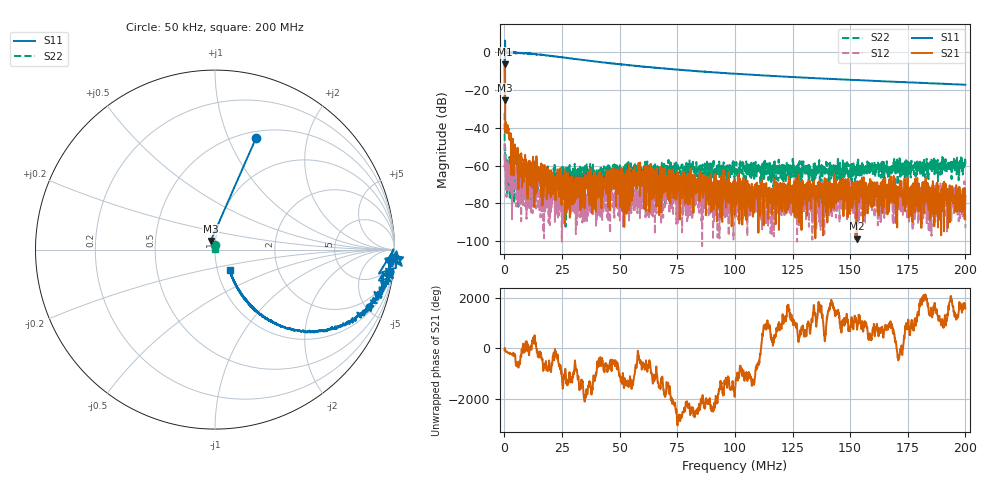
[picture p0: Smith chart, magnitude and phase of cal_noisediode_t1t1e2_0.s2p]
! 26-Feb-26 1:32:48 PM
! E:\VNA_MEASUREMENTS\CAL_S11\CAL_NOISEDIODE_T1T1E2_0.S2P
! CHANNEL.1
! TR.MEASUREMENT
! CORRECTED.DATA
# GHZ S RI R 50.0
! FREQ.GHZ  S11RE  S11IM  S21RE  S21IM  S12RE  S12IM  S22RE  S22IM
!; PortSelection: Port_12
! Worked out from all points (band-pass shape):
!   2000 points, 50 kHz to 200 MHz, reference 50 ohm
!   highest |S21| = -6.37 dB at 50 kHz (marker M1); lowest = -98.7 dB at 152.8 MHz (marker M2)
!   |S21| within 3 dB of the highest: start of sweep to 251.8 kHz
!   lowest |S11| = -25.5 dB at 150 kHz (marker M3), VSWR 1.11, Z = 47.4 + j4.51 ohm
!   |S11| at or under -10 dB: 79.22 kHz to 198.8 kHz (119.6 kHz wide, 86 % of centre); 83.36558 MHz to 83.61863 MHz (253.1 kHz wide, 0.303 % of centre); 83.72 MHz to end of sweep
!   |S22| runs from -92.3 to -32.1 dB; largest |S21 - S12| = 0.48
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5e-05  0.2278 0.6198  0.1653 -0.4512  -0.00346 -0.00189  0.00154 0.0247
0.000150025  -0.024 0.0474  0.4295 0.1532  0.000743 0.000428  -0.00085 -0.000348
0.001350325  0.9724 -0.0858  -0.0112 -0.00402  -0.000538 -0.00102  -0.000466 -0.000645
0.00385095  0.9964 -0.125  -0.00119 -0.000195  -0.00111 -0.000349  -0.000101 0.000423
0.006951726  0.9165 -0.2183  0.000287 0.000606  0.000176 0.000106  0.000572 0.001
0.0260565  0.5572 -0.4557  0.000167 -0.000245  -0.000111 -8.01e-05  0.000714 0.000163
0.03345835  0.4465 -0.4471  -0.000122 0.000184  -5.84e-05 -2.92e-05  0.000161 0.000353
0.04486121  0.328 -0.41  0.00011 -0.000569  -0.000131 7.56e-05  0.000931 0.000386
0.04696173  0.3144 -0.3946  -0.000272 0.000222  -2.58e-05 7.71e-05  0.000761 0.000246
0.05206301  0.278 -0.3798  -0.000181 0.000443  -0.000177 -9e-07  0.00044 0.00038
0.05746436  0.2467 -0.356  9.78e-05 0.000219  -8.02e-05 -2.43e-05  0.000453 0.000169
0.06676668  0.209 -0.324  8.44e-05 0.000218  -0.000191 0.000101  0.000495 0.000242
0.08607151  0.1566 -0.2653  -4.87e-05 -0.000134  0.000146 -2.1e-05  0.000682 0.000471
0.08827206  0.1554 -0.2587  0.000242 -0.000262  1.67e-05 0.000153  0.000773 0.000271
0.100075  0.1367 -0.2338  -0.000208 -9.66e-05  -2.27e-05 0.000138  0.000564 0.000586
0.1333833  0.107 -0.1787  0.000211 -4.72e-05  2.8e-06 -3.87e-05  4.79e-05 0.00074
0.1527882  0.0956 -0.1561  8.9e-06 -7.5e-06  0.000168 -3.51e-05  0.000764 0.000567
0.1666917  0.0906 -0.1415  -5.39e-05 -2.43e-05  -0.000217 6e-07  0.000552 0.000551
0.176194  0.0875 -0.1333  -1.08e-05 4.59e-05  -7.51e-05 5.11e-05  0.000678 0.000706
0.1782946  0.0873 -0.1307  0.000423 -0.000172  3.4e-06 -0.000125  0.000422 0.000765
0.1944986  0.0817 -0.1166  -7.43e-05 -0.000224  0.000105 3.73e-05  0.000745 0.00053
0.2  0.0809 -0.1125  -0.000139 7.21e-05  -8.6e-06 2.05e-05  0.000335 0.000832
